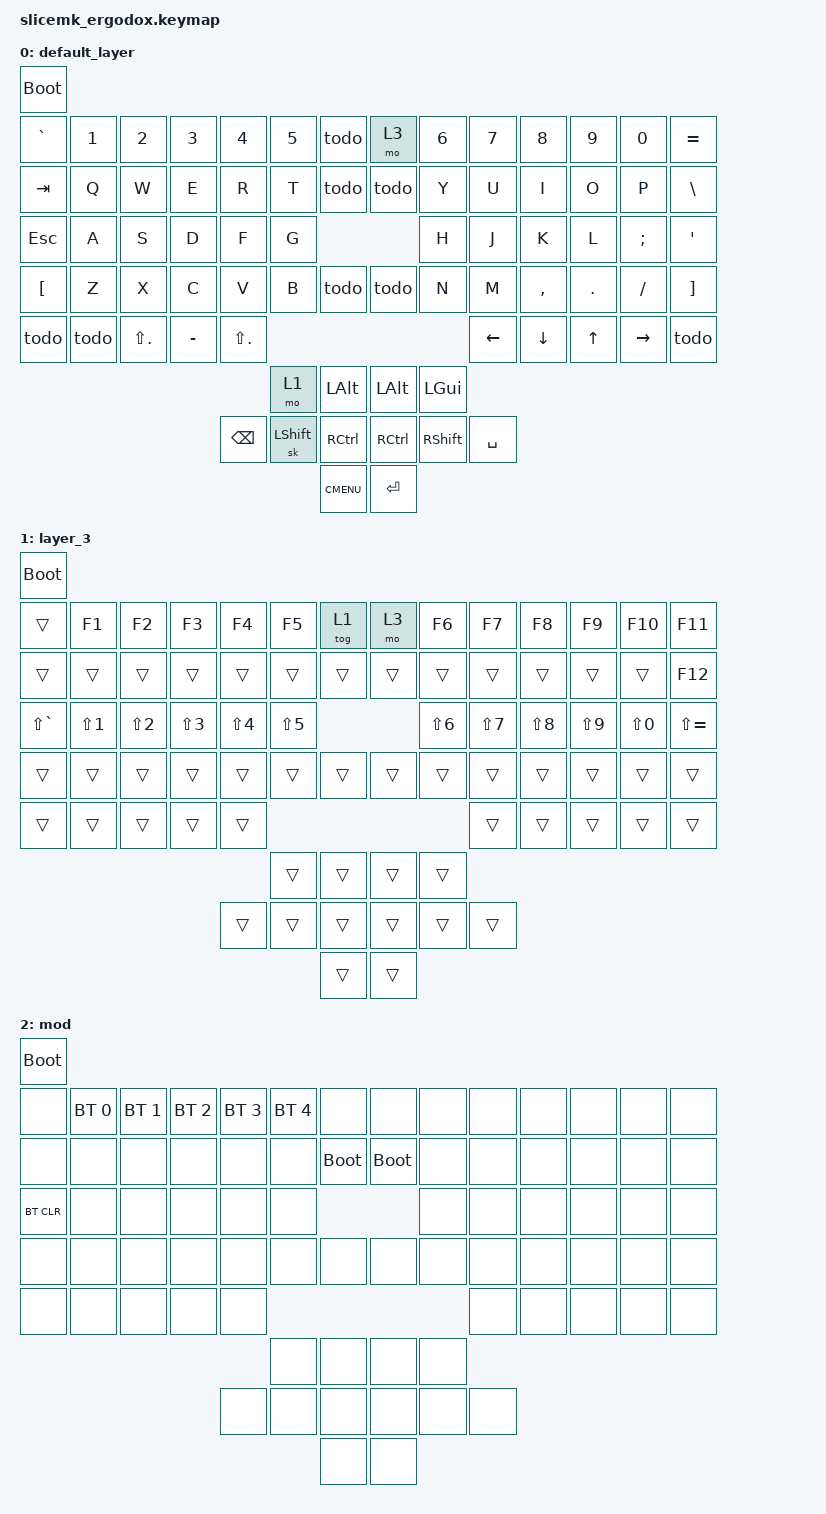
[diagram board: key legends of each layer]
#include <behaviors.dtsi>
#include <dt-bindings/zmk/bt.h>
#include <dt-bindings/zmk/keys.h>
#include <dt-bindings/zmk/outputs.h>

#define todo none

/ {
  keymap {
    compatible = "zmk,keymap";

    default_layer {
      bindings = <
        &bootloader
        &kp GRAV &kp NUMBER_1 &kp NUMBER_2 &kp NUMBER_3 &kp NUMBER_4 &kp NUMBER_5 &todo       &mo 3     &kp NUMBER_6 &kp NUMBER_7 &kp NUMBER_8 &kp NUMBER_9 &kp NUMBER_0  &kp EQUAL
        &kp TAB  &kp Q        &kp W        &kp E        &kp R        &kp T        &todo       &todo     &kp Y        &kp U        &kp I        &kp O        &kp P         &kp BSLH
        &kp ESC  &kp A        &kp S        &kp D        &kp F        &kp G                              &kp H        &kp J        &kp K        &kp L        &kp SEMICOLON &kp SQT
        &kp LBKT &kp Z        &kp X        &kp C        &kp V        &kp B        &todo       &todo     &kp N        &kp M        &kp CMMA     &kp DOT      &kp FSLH      &kp RBKT
        &todo    &todo        &kp LS(DOT)  &kp MINUS    &kp LS(DOT)                                                  &kp LEFT     &kp DOWN     &kp UP       &kp RIGHT     &todo
                                                                     &mo 1        &kp LALT    &kp LALT  &kp LGUI
                                                        &kp BSPC     &sk LSHFT    &kp RCTRL   &kp RCTRL &kp RSHFT    &kp SPACE
                                                                                  &kp K_CMENU &kp ENTER
      >;
    };
    layer_3 {
      bindings = <
        &bootloader
        &trans        &kp F1     &kp F2     &kp F3      &kp F4       &kp F5       &tog 1      &mo 3     &kp F6       &kp F7     &kp F8     &kp F9     &kp F10    &kp F11
        &trans        &trans     &trans     &trans      &trans       &trans       &trans      &trans    &trans       &trans     &trans     &trans     &trans     &kp F12
        &kp LS(GRAVE) &kp LS(N1) &kp LS(N2) &kp LS(N3)  &kp LS(N4)   &kp LS(N5)                         &kp LS(N6)   &kp LS(N7) &kp LS(N8) &kp LS(N9) &kp LS(N0) &kp LS(EQUAL)
        &trans        &trans     &trans     &trans      &trans       &trans       &trans      &trans    &trans       &trans     &trans     &trans     &trans     &trans
        &trans        &trans     &trans     &trans      &trans                                                       &trans     &trans     &trans     &trans     &trans
                                                                     &trans       &trans      &trans    &trans
                                                        &trans       &trans       &trans      &trans    &trans       &trans
                                                                                  &trans      &trans
      >;
    };
    mod {
      bindings = <
        &bootloader
        &none &bt BT_SEL 0 &bt BT_SEL 1 &bt BT_SEL 2 &bt BT_SEL 3 &bt BT_SEL 4    &none       &none       &none      &none      &none      &none      &none      &none
        &none         &none      &none      &none       &none        &none        &bootloader &bootloader &none      &none      &none      &none      &none      &none
        &bt BT_CLR    &none      &none      &none       &none        &none                                &none      &none      &none      &none      &none      &none
        &none         &none      &none      &none       &none        &none        &none       &none       &none      &none      &none      &none      &none      &none
        &none         &none      &none      &none       &none                                                        &none      &none      &none      &none      &none
                                                                     &none        &none       &none       &none
                                                        &none        &none        &none       &none       &none      &none
                                                                                  &none       &none
      >;
    };
  };
};
